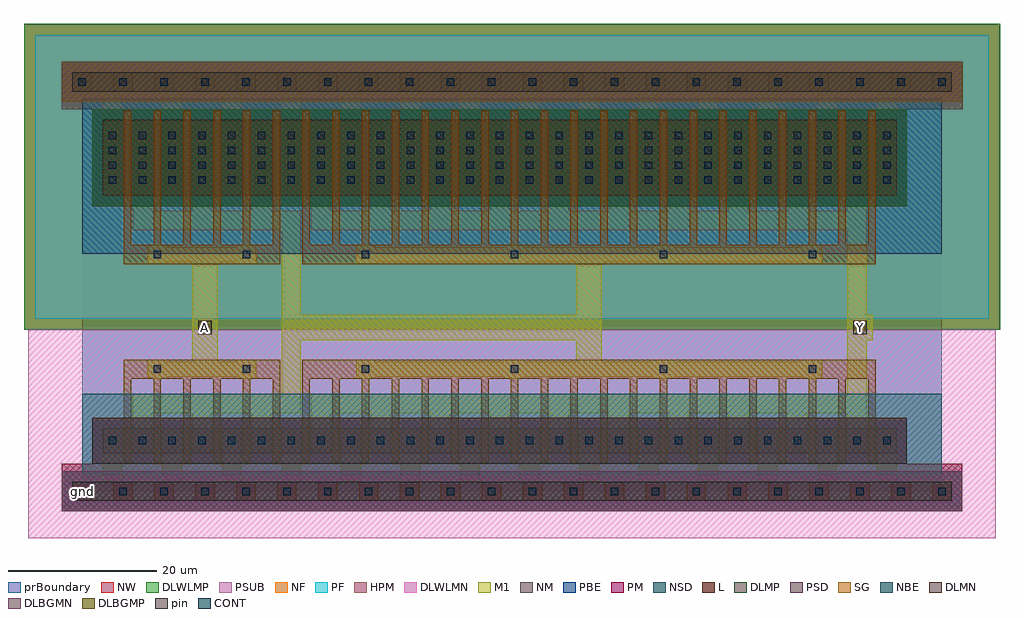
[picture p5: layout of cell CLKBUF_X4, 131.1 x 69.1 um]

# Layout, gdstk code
import gdstk
lib = gdstk.Library(unit=1e-6, precision=1e-09)
def R(c, l, rs):  # rectangles x0, y0, x1, y1
    for r in rs: c.add(gdstk.rectangle(r[:2], r[2:], *l))
def A(c, l, x, y, w, h, nx, ny, dx, dy):  # array of equal rectangles
    R(c, l, [(x+i*dx, y+j*dy, x+i*dx+w, y+j*dy+h) for i in range(nx) for j in range(ny)])
def P(c, l, *ps):  # polygons
    for p in ps: c.add(gdstk.Polygon(p, *l))
L = (3, 0)
NM = (7, 0)
SG = (8, 0)
PSD = (9, 0)
CONT = (11, 0)
M1 = (13, 0)
NF = (25, 0)
PF = (26, 0)
NSD = (28, 0)
HPM = (33, 0)
PM = (35, 0)
NW = (36, 0)
pin = (48, 1)
PSUB = (140, 0)
PBE = (146, 0)
NBE = (147, 0)
DLWLMP = (150, 0)
DLWLMN = (151, 0)
DLMP = (157, 0)
DLMN = (158, 0)
DLBGMP = (177, 0)
DLBGMN = (178, 0)
prBoundary = (235, 0)

clkbuf_x4 = lib.new_cell('CLKBUF_X4')
A(clkbuf_x4, L, -1.3, -1.3, 2.6, 2.6, 22, 2, 5.5, 55)
R(clkbuf_x4, L, [(2.8,5.1,109.4,8.5), (2.8,39.7,109.4,49.9)])
R(clkbuf_x4, NM, [(-2.75,-2.7,118.25,2.7)])
P(clkbuf_x4, NM, [(1.4,38.3),(1.4,51.3),(-2.75,51.3),(-2.75,57.7),(118.25,57.7),(118.25,51.3),(110.8,51.3),(110.8,38.3)])
P(clkbuf_x4, SG, [(5.6,3.9),(5.6,17.7),(26.6,17.7),(26.6,3.9),(25.6,3.9),(25.6,15.1),(22.6,15.1),(22.6,3.9),(21.6,3.9),(21.6,15.1),(18.6,15.1),(18.6,3.9),(17.6,3.9),(17.6,15.1),(14.6,15.1),(14.6,3.9),(13.6,3.9),(13.6,15.1),(10.6,15.1),(10.6,3.9),(9.6,3.9),(9.6,15.1),(6.6,15.1),(6.6,3.9)],
  [(29.6,3.9),(29.6,17.7),(106.6,17.7),(106.6,3.9),(105.6,3.9),(105.6,15.1),(102.6,15.1),(102.6,3.9),(101.6,3.9),(101.6,15.1),(98.6,15.1),(98.6,3.9),(97.6,3.9),(97.6,15.1),(94.6,15.1),(94.6,3.9),(93.6,3.9),(93.6,15.1),(90.6,15.1),(90.6,3.9),(89.6,3.9),(89.6,15.1),(86.6,15.1),(86.6,3.9),(85.6,3.9),(85.6,15.1),(82.6,15.1),(82.6,3.9),(81.6,3.9),(81.6,15.1),(78.6,15.1),(78.6,3.9),(77.6,3.9),(77.6,15.1),(74.6,15.1),(74.6,3.9),(73.6,3.9),(73.6,15.1),(70.6,15.1),(70.6,3.9),(69.6,3.9),(69.6,15.1),(66.6,15.1),(66.6,3.9),(65.6,3.9),(65.6,15.1),(62.6,15.1),(62.6,3.9),(61.6,3.9),(61.6,15.1),(58.6,15.1),(58.6,3.9),(57.6,3.9),(57.6,15.1),(54.6,15.1),(54.6,3.9),(53.6,3.9),(53.6,15.1),(50.6,15.1),(50.6,3.9),(49.6,3.9),(49.6,15.1),(46.6,15.1),(46.6,3.9),(45.6,3.9),(45.6,15.1),(42.6,15.1),(42.6,3.9),(41.6,3.9),(41.6,15.1),(38.6,15.1),(38.6,3.9),(37.6,3.9),(37.6,15.1),(34.6,15.1),(34.6,3.9),(33.6,3.9),(33.6,15.1),(30.6,15.1),(30.6,3.9)],
  [(5.6,30.5),(5.6,51.1),(6.6,51.1),(6.6,33.1),(9.6,33.1),(9.6,51.1),(10.6,51.1),(10.6,33.1),(13.6,33.1),(13.6,51.1),(14.6,51.1),(14.6,33.1),(17.6,33.1),(17.6,51.1),(18.6,51.1),(18.6,33.1),(21.6,33.1),(21.6,51.1),(22.6,51.1),(22.6,33.1),(25.6,33.1),(25.6,51.1),(26.6,51.1),(26.6,30.5)],
  [(29.6,30.5),(29.6,51.1),(30.6,51.1),(30.6,33.1),(33.6,33.1),(33.6,51.1),(34.6,51.1),(34.6,33.1),(37.6,33.1),(37.6,51.1),(38.6,51.1),(38.6,33.1),(41.6,33.1),(41.6,51.1),(42.6,51.1),(42.6,33.1),(45.6,33.1),(45.6,51.1),(46.6,51.1),(46.6,33.1),(49.6,33.1),(49.6,51.1),(50.6,51.1),(50.6,33.1),(53.6,33.1),(53.6,51.1),(54.6,51.1),(54.6,33.1),(57.6,33.1),(57.6,51.1),(58.6,51.1),(58.6,33.1),(61.6,33.1),(61.6,51.1),(62.6,51.1),(62.6,33.1),(65.6,33.1),(65.6,51.1),(66.6,51.1),(66.6,33.1),(69.6,33.1),(69.6,51.1),(70.6,51.1),(70.6,33.1),(73.6,33.1),(73.6,51.1),(74.6,51.1),(74.6,33.1),(77.6,33.1),(77.6,51.1),(78.6,51.1),(78.6,33.1),(81.6,33.1),(81.6,51.1),(82.6,51.1),(82.6,33.1),(85.6,33.1),(85.6,51.1),(86.6,51.1),(86.6,33.1),(89.6,33.1),(89.6,51.1),(90.6,51.1),(90.6,33.1),(93.6,33.1),(93.6,51.1),(94.6,51.1),(94.6,33.1),(97.6,33.1),(97.6,51.1),(98.6,51.1),(98.6,33.1),(101.6,33.1),(101.6,51.1),(102.6,51.1),(102.6,33.1),(105.6,33.1),(105.6,51.1),(106.6,51.1),(106.6,30.5)])
R(clkbuf_x4, PSD, [(1.4,3.7,110.8,9.9), (-2.75,52.3,118.25,57.7)])
A(clkbuf_x4, CONT, -0.5, -0.5, 1, 1, 22, 2, 5.5, 55)
A(clkbuf_x4, CONT, 3.6, 6.3, 1, 1, 7, 2, 4, 35)
A(clkbuf_x4, CONT, 27.6, 6.3, 1, 1, 21, 2, 4, 35)
A(clkbuf_x4, CONT, 37.6, 15.9, 1, 1, 4, 2, 20, 15.4)
A(clkbuf_x4, CONT, 3.6, 43.3, 1, 1, 7, 3, 4, 2)
A(clkbuf_x4, CONT, 27.6, 43.3, 1, 1, 21, 3, 4, 2)
R(clkbuf_x4, CONT, [(9.6,15.9,10.6,16.9), (21.6,15.9,22.6,16.9), (9.6,31.3,10.6,32.3), (21.6,31.3,22.6,32.3)])
P(clkbuf_x4, M1, [(-1.3,-1.3),(-1.3,1.3),(2.8,1.3),(2.8,8.5),(5.4,8.5),(5.4,1.3),(10.8,1.3),(10.8,8.5),(13.4,8.5),(13.4,1.3),(18.8,1.3),(18.8,8.5),(21.4,8.5),(21.4,1.3),(26.8,1.3),(26.8,8.5),(29.4,8.5),(29.4,1.3),(34.8,1.3),(34.8,8.5),(37.4,8.5),(37.4,1.3),(42.8,1.3),(42.8,8.5),(45.4,8.5),(45.4,1.3),(50.8,1.3),(50.8,8.5),(53.4,8.5),(53.4,1.3),(58.8,1.3),(58.8,8.5),(61.4,8.5),(61.4,1.3),(66.8,1.3),(66.8,8.5),(69.4,8.5),(69.4,1.3),(74.8,1.3),(74.8,8.5),(77.4,8.5),(77.4,1.3),(82.8,1.3),(82.8,8.5),(85.4,8.5),(85.4,1.3),(90.8,1.3),(90.8,8.5),(93.4,8.5),(93.4,1.3),(98.8,1.3),(98.8,8.5),(101.4,8.5),(101.4,1.3),(106.8,1.3),(106.8,8.5),(109.4,8.5),(109.4,1.3),(116.8,1.3),(116.8,-1.3)],
  [(8.8,15.1),(8.8,17.7),(11.4,17.7),(11.4,17.4),(14.8,17.4),(14.8,30.8),(11.4,30.8),(11.4,30.5),(8.8,30.5),(8.8,33.1),(11.4,33.1),(11.4,32.8),(20.8,32.8),(20.8,33.1),(23.4,33.1),(23.4,30.5),(20.8,30.5),(20.8,30.8),(18.2,30.8),(18.2,17.4),(20.8,17.4),(20.8,17.7),(23.4,17.7),(23.4,15.1),(20.8,15.1),(20.8,15.4),(11.4,15.4),(11.4,15.1)],
  [(6.8,5.1),(6.8,13.1),(26.8,13.1),(26.8,35.1),(6.8,35.1),(6.8,49.9),(9.4,49.9),(9.4,37.7),(14.8,37.7),(14.8,49.9),(17.4,49.9),(17.4,37.7),(22.8,37.7),(22.8,49.9),(25.4,49.9),(25.4,37.7),(29.4,37.7),(29.4,23.7),(66.4,23.7),(66.4,30.8),(59.4,30.8),(59.4,30.5),(56.8,30.5),(56.8,30.8),(39.4,30.8),(39.4,30.5),(36.8,30.5),(36.8,33.1),(39.4,33.1),(39.4,32.8),(56.8,32.8),(56.8,33.1),(59.4,33.1),(59.4,32.8),(76.8,32.8),(76.8,33.1),(79.4,33.1),(79.4,32.8),(96.8,32.8),(96.8,33.1),(99.4,33.1),(99.4,30.5),(96.8,30.5),(96.8,30.8),(79.4,30.8),(79.4,30.5),(76.8,30.5),(76.8,30.8),(69.8,30.8),(69.8,17.4),(76.8,17.4),(76.8,17.7),(79.4,17.7),(79.4,17.4),(96.8,17.4),(96.8,17.7),(99.4,17.7),(99.4,15.1),(96.8,15.1),(96.8,15.4),(79.4,15.4),(79.4,15.1),(76.8,15.1),(76.8,15.4),(59.4,15.4),(59.4,15.1),(56.8,15.1),(56.8,15.4),(39.4,15.4),(39.4,15.1),(36.8,15.1),(36.8,17.7),(39.4,17.7),(39.4,17.4),(56.8,17.4),(56.8,17.7),(59.4,17.7),(59.4,17.4),(66.4,17.4),(66.4,20.3),(29.4,20.3),(29.4,10.5),(25.4,10.5),(25.4,5.1),(22.8,5.1),(22.8,10.5),(17.4,10.5),(17.4,5.1),(14.8,5.1),(14.8,10.5),(9.4,10.5),(9.4,5.1)],
  [(30.8,5.1),(30.8,13.1),(102.8,13.1),(102.8,35.1),(30.8,35.1),(30.8,49.9),(33.4,49.9),(33.4,37.7),(38.8,37.7),(38.8,49.9),(41.4,49.9),(41.4,37.7),(46.8,37.7),(46.8,49.9),(49.4,49.9),(49.4,37.7),(54.8,37.7),(54.8,49.9),(57.4,49.9),(57.4,37.7),(62.8,37.7),(62.8,49.9),(65.4,49.9),(65.4,37.7),(70.8,37.7),(70.8,49.9),(73.4,49.9),(73.4,37.7),(78.8,37.7),(78.8,49.9),(81.4,49.9),(81.4,37.7),(86.8,37.7),(86.8,49.9),(89.4,49.9),(89.4,37.7),(94.8,37.7),(94.8,49.9),(97.4,49.9),(97.4,37.7),(102.8,37.7),(102.8,49.9),(105.4,49.9),(105.4,23.7),(106.2,23.7),(106.2,20.3),(105.4,20.3),(105.4,5.1),(102.8,5.1),(102.8,10.5),(97.4,10.5),(97.4,5.1),(94.8,5.1),(94.8,10.5),(89.4,10.5),(89.4,5.1),(86.8,5.1),(86.8,10.5),(81.4,10.5),(81.4,5.1),(78.8,5.1),(78.8,10.5),(73.4,10.5),(73.4,5.1),(70.8,5.1),(70.8,10.5),(65.4,10.5),(65.4,5.1),(62.8,5.1),(62.8,10.5),(57.4,10.5),(57.4,5.1),(54.8,5.1),(54.8,10.5),(49.4,10.5),(49.4,5.1),(46.8,5.1),(46.8,10.5),(41.4,10.5),(41.4,5.1),(38.8,5.1),(38.8,10.5),(33.4,10.5),(33.4,5.1)],
  [(2.8,39.7),(2.8,53.7),(-1.3,53.7),(-1.3,56.3),(116.8,56.3),(116.8,53.7),(109.4,53.7),(109.4,39.7),(106.8,39.7),(106.8,53.7),(101.4,53.7),(101.4,39.7),(98.8,39.7),(98.8,53.7),(93.4,53.7),(93.4,39.7),(90.8,39.7),(90.8,53.7),(85.4,53.7),(85.4,39.7),(82.8,39.7),(82.8,53.7),(77.4,53.7),(77.4,39.7),(74.8,39.7),(74.8,53.7),(69.4,53.7),(69.4,39.7),(66.8,39.7),(66.8,53.7),(61.4,53.7),(61.4,39.7),(58.8,39.7),(58.8,53.7),(53.4,53.7),(53.4,39.7),(50.8,39.7),(50.8,53.7),(45.4,53.7),(45.4,39.7),(42.8,39.7),(42.8,53.7),(37.4,53.7),(37.4,39.7),(34.8,39.7),(34.8,53.7),(29.4,53.7),(29.4,39.7),(26.8,39.7),(26.8,53.7),(21.4,53.7),(21.4,39.7),(18.8,39.7),(18.8,53.7),(13.4,53.7),(13.4,39.7),(10.8,39.7),(10.8,53.7),(5.4,53.7),(5.4,39.7)])
R(clkbuf_x4, NF, [(-6.3,23.2,121.8,61.3)])
R(clkbuf_x4, PF, [(-6.3,23.2,121.8,61.3)])
R(clkbuf_x4, NSD, [(-2.75,-2.7,118.25,2.7), (1.4,38.3,110.8,51.3)])
P(clkbuf_x4, HPM, [(-2.75,-2.7),(-2.75,3.7),(1.4,3.7),(1.4,9.9),(110.8,9.9),(110.8,3.7),(118.25,3.7),(118.25,-2.7)],
  [(1.4,38.3),(1.4,51.3),(-2.7,51.3),(-2.7,52.3),(-2.75,52.3),(-2.75,57.7),(118.3,57.7),(118.3,51.3),(110.8,51.3),(110.8,38.3)])
R(clkbuf_x4, PM, [(-2.75,52.3,118.25,57.7)])
P(clkbuf_x4, PM, [(-2.75,-2.7),(-2.75,3.7),(1.4,3.7),(1.4,9.9),(110.8,9.9),(110.8,3.7),(118.25,3.7),(118.25,-2.7)])
R(clkbuf_x4, NW, [(-7.8,21.7,123.3,62.8)])
R(clkbuf_x4, pin, [(-1.3,-1.3,116.8,1.3), (15.6,21.1,17.4,22.9), (103.6,21.1,105.4,22.9), (-1.3,53.7,116.8,56.3)])
R(clkbuf_x4, PSUB, [(-6.3,23.2,121.8,61.3)])
R(clkbuf_x4, PBE, [(0,31.9,115.5,52.7)])
R(clkbuf_x4, NBE, [(0,2.3,115.5,13.1)])
R(clkbuf_x4, DLWLMP, [(-7.8,21.7,123.3,62.8)])
R(clkbuf_x4, DLWLMN, [(-7.2,-6.3,122.7,21.7)])
R(clkbuf_x4, DLMP, [(1.4,38.3,110.8,51.3)])
R(clkbuf_x4, DLMN, [(1.4,3.7,110.8,9.9)])
R(clkbuf_x4, DLBGMP, [(-2.75,52.3,118.25,57.7)])
R(clkbuf_x4, DLBGMN, [(-2.75,-2.7,118.25,2.7)])
R(clkbuf_x4, prBoundary, [(0,0,115.5,55)])
clkbuf_x4.add(gdstk.Label('Y', (104.5,22), layer=48, texttype=0))
clkbuf_x4.add(gdstk.Label('A', (16.5,22), layer=48, texttype=0))
clkbuf_x4.add(gdstk.Label('gnd', (0,0), layer=48, texttype=0))

lib.write_gds('CLKBUF_X4.gds')
